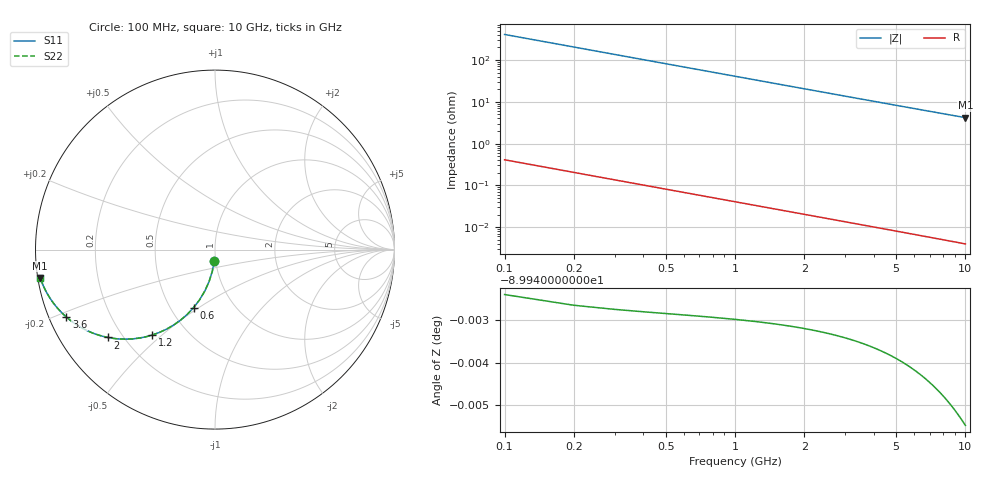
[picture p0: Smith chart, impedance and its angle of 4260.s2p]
# Hz S RI R 50.00
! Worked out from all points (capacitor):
!   100 points, 100 MHz to 10 GHz, reference 50 ohm
!   read as one part in shunt: C = 3.9 pF near 100 MHz
!   lowest |Z| = 4.18 ohm at 10 GHz (marker M1)
!   S11 on the Smith chart (normalised r, x): 100 MHz: 0.99, -0.12; 600 MHz: 0.65, -0.48; 1.2 GHz: 0.32, -0.46; 2 GHz: 0.14, -0.35; 3.6 GHz: 0.05, -0.22; 10 GHz: 0.01, -0.08
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1e8  -0.00379 -0.061  0.9962 -0.061  0.9962 -0.061  -0.00379 -0.061
2e8  -0.0149 -0.1205  0.9851 -0.1207  0.9851 -0.1207  -0.0149 -0.1205
3e8  -0.0328 -0.1775  0.9672 -0.1777  0.9672 -0.1777  -0.0328 -0.1775
4e8  -0.0567 -0.2308  0.9432 -0.231  0.9432 -0.231  -0.0567 -0.2308
5e8  -0.0858 -0.2795  0.9141 -0.2798  0.9141 -0.2798  -0.0858 -0.2795
6e8  -0.119 -0.3232  0.8809 -0.3235  0.8809 -0.3235  -0.119 -0.3232
7e8  -0.1553 -0.3615  0.8447 -0.3618  0.8447 -0.3618  -0.1553 -0.3615
9e8  -0.2328 -0.4219  0.7672 -0.4224  0.7672 -0.4224  -0.2328 -0.4219
1.2e9  -0.3501 -0.4762  0.6499 -0.4768  0.6499 -0.4768  -0.3501 -0.4762
1.5e9  -0.4567 -0.4972  0.5433 -0.498  0.5433 -0.498  -0.4567 -0.4972
1.8e9  -0.5473 -0.4968  0.4527 -0.4977  0.4527 -0.4977  -0.5473 -0.4968
2e9  -0.5986 -0.4892  0.4014 -0.4902  0.4014 -0.4902  -0.5986 -0.4892
2.3e9  -0.6633 -0.4715  0.3367 -0.4727  0.3367 -0.4727  -0.6633 -0.4715
2.6e9  -0.7154 -0.45  0.2846 -0.4514  0.2846 -0.4514  -0.7154 -0.45
3e9  -0.7697 -0.4197  0.2303 -0.4213  0.2303 -0.4213  -0.7697 -0.4197
3.4e9  -0.8108 -0.3902  0.1892 -0.392  0.1892 -0.392  -0.8108 -0.3902
3.6e9  -0.8276 -0.3762  0.1723 -0.3781  0.1723 -0.3781  -0.8276 -0.3762
4.3e9  -0.8724 -0.332  0.1276 -0.3343  0.1276 -0.3343  -0.8724 -0.332
5.1e9  -0.9056 -0.2905  0.0944 -0.2932  0.0944 -0.2932  -0.9056 -0.2905
6.7e9  -0.9429 -0.2297  0.0571 -0.2334  0.0571 -0.2334  -0.9429 -0.2297
8.4e9  -0.9628 -0.1864  0.0371 -0.1909  0.0371 -0.1909  -0.9628 -0.1864
1e10  -0.9735 -0.1574  0.0265 -0.1629  0.0265 -0.1629  -0.9735 -0.1574
